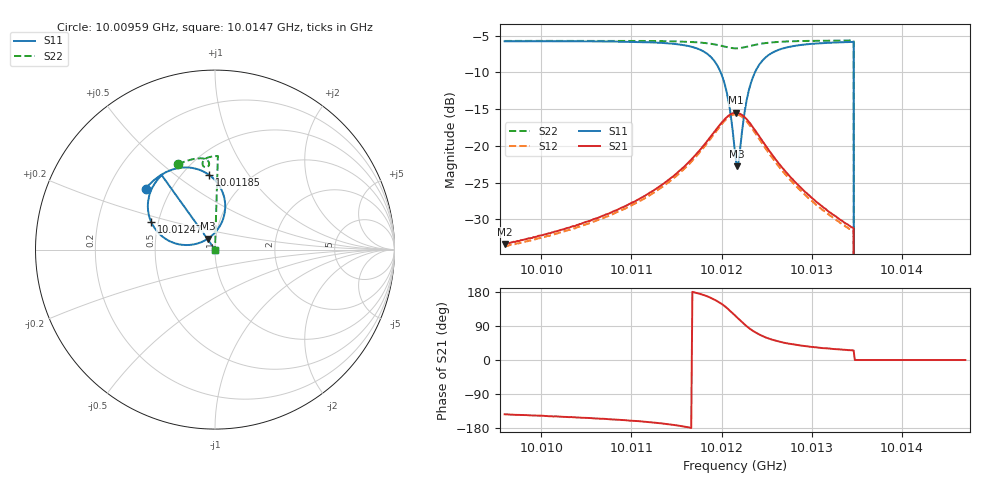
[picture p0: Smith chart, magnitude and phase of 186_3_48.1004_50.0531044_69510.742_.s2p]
#  HZ  S  RI  R  50.00
! Rohde & Schwarz Vector Network Analyzer
! Rohde-Schwarz,ZNB20-2Port,1311601062101988,3.16
! Created: UTC 12/23/2023, 3:53:17 AM
! freq[Hz]  re:S11  im:S11  re:S21  im:S21  re:S12  im:S12  re:S22  im:S22
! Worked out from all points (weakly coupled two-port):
!   401 points, 10.00959 GHz to 10.0147 GHz, reference 50 ohm
!   highest |S21| = -15.49 dB at 10.01216 GHz (marker M1); lowest = -33.4 dB at 10.00959 GHz (marker M2)
!   lowest |S11| = -22.8 dB at 10.01217 GHz (marker M3), VSWR 1.16, Z = 45.9 + j5.68 ohm
!   |S11| at or under -10 dB: 10.01199 GHz to 10.01237 GHz (379.8 kHz wide, 0.00379 % of centre); 10.01346 GHz to end of sweep
!   |S22| runs from - to -5.6 dB; largest |S21 - S12| = 0.0085
!   S11 on the Smith chart (normalised r, x): 10.00959 GHz: 0.36, +0.33; 10.01185 GHz: 0.67, +0.67; 10.01247 GHz: 0.45, +0.17; 10.0147 GHz: 1.00, +0.00
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1.0009592e10  -0.3868 0.3401  -0.0172 -0.0128  -0.016 -0.0131  -0.2063 0.4752
1.0010449e10  -0.3317 0.3937  -0.0262 -0.0137  -0.0246 -0.0145  -0.1525 0.4959
1.0011305e10  -0.2297 0.4482  -0.0512 -0.0124  -0.0485 -0.0145  -0.0918 0.5085
1.0011612e10  -0.1488 0.4574  -0.0748 -0.00417  -0.0719 -0.00767  -0.0653 0.5076
1.0011854e10  -0.0319 0.4154  -0.1077 0.0253  -0.1054 0.0191  -0.0416 0.4967
1.0011957e10  0.0289 0.3473  -0.1202 0.0576  -0.12 0.0494  -0.0338 0.4852
1.0012033e10  0.0565 0.2579  -0.1197 0.0928  -0.1209 0.0855  -0.033 0.4731
1.0012084e10  0.0488 0.1821  -0.1079 0.1205  -0.1108 0.1126  -0.0368 0.4652
1.0012148e10  -0.00449 0.0901  -0.0778 0.1489  -0.0815 0.1422  -0.0465 0.4589
1.0012161e10  -0.0212 0.0746  -0.0698 0.1529  -0.0741 0.146  -0.0488 0.4585
1.0012174e10  -0.0389 0.0615  -0.0623 0.1557  -0.0664 0.1493  -0.0513 0.4585
1.0012199e10  -0.0782 0.0406  -0.0458 0.1594  -0.0501 0.1533  -0.0559 0.4592
1.0012263e10  -0.1806 0.0265  -0.00542 0.155  -0.0099 0.1498  -0.0655 0.4659
1.0012314e10  -0.2506 0.046  0.0193 0.1414  0.0137 0.1366  -0.0691 0.4738
1.0012378e10  -0.3119 0.0897  0.0379 0.1199  0.0328 0.116  -0.0692 0.4841
1.0012468e10  -0.3566 0.1564  0.0498 0.0921  0.0439 0.0898  -0.0642 0.4951
1.0012698e10  -0.3711 0.2781  0.0478 0.0484  0.0434 0.0482  -0.0443 0.5108
1.0013004e10  -0.3423 0.3576  0.0363 0.0248  0.0334 0.0254  -0.0185 0.5186
1.0013439e10  -0.2993 0.4126  0.0252 0.0121  0.0233 0.0128  0.0142 0.5214
1.0013503e10  0 0  0 0  0 0  0 0
1.0013861e10  0 0  0 0  0 0  0 0
1.0014704e10  0 0  0 0  0 0  0 0
